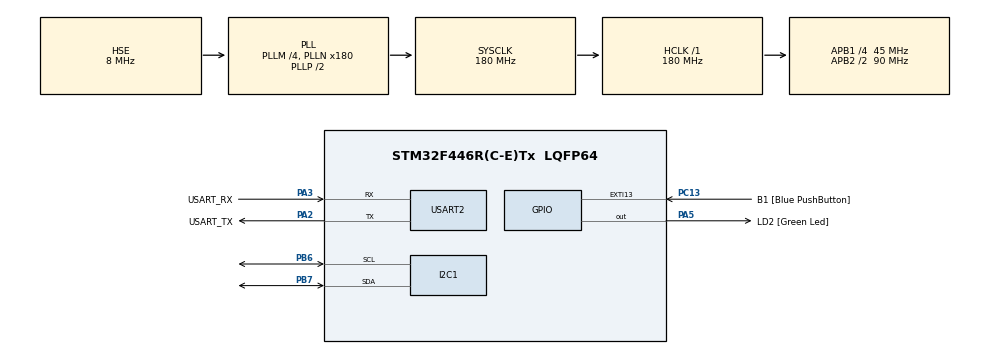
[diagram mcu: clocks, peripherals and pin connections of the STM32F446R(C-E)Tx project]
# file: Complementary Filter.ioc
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I2C1.I2C_Mode=I2C_Fast
Mcu.Family=STM32F4
Mcu.Name=STM32F446R(C-E)Tx
Mcu.Package=LQFP64
NVIC.PriorityGroup=NVIC_PRIORITYGROUP_0
NVIC.USART2_IRQn=true\:0\:0\:false\:false\:true\:true\:true\:true
PA13.GPIO_Label=TMS
PA13.Mode=Serial_Wire
PA13.Signal=SYS_JTMS-SWDIO
PA14.GPIO_Label=TCK
PA14.Mode=Serial_Wire
PA14.Signal=SYS_JTCK-SWCLK
PA2.GPIO_Label=USART_TX
PA2.Mode=Asynchronous
PA2.Signal=USART2_TX
PA3.GPIO_Label=USART_RX
PA3.Mode=Asynchronous
PA3.Signal=USART2_RX
PA5.GPIO_Label=LD2 [Green Led]
PA5.Signal=GPIO_Output
PB3.GPIO_Label=SWO
PB3.Signal=SYS_JTDO-SWO
PB6.Mode=I2C
PB6.Signal=I2C1_SCL
PB7.Mode=I2C
PB7.Signal=I2C1_SDA
PC13.GPIO_Label=B1 [Blue PushButton]
PC13.GPIO_ModeDefaultEXTI=GPIO_MODE_IT_FALLING
PC13.Signal=GPXTI13
PC14-OSC32_IN.Mode=LSE-External-Oscillator
PC14-OSC32_IN.Signal=RCC_OSC32_IN
PC15-OSC32_OUT.Mode=LSE-External-Oscillator
PC15-OSC32_OUT.Signal=RCC_OSC32_OUT
PH0-OSC_IN.Mode=HSE-External-Oscillator
PH0-OSC_IN.Signal=RCC_OSC_IN
PH1-OSC_OUT.Mode=HSE-External-Oscillator
PH1-OSC_OUT.Signal=RCC_OSC_OUT
ProjectManager.HeapSize=0x200
ProjectManager.StackSize=0x400
ProjectManager.TargetToolchain=STM32CubeIDE
RCC.48MHZClocksFreq_Value=84000000
RCC.AHBFreq_Value=180000000
RCC.APB1CLKDivider=RCC_HCLK_DIV4
RCC.APB1Freq_Value=45000000
RCC.APB1TimFreq_Value=90000000
RCC.APB2CLKDivider=RCC_HCLK_DIV2
RCC.APB2Freq_Value=90000000
RCC.APB2TimFreq_Value=180000000
RCC.CortexFreq_Value=180000000
RCC.FLatency-AdvancedSettings=FLASH_LATENCY_5
RCC.HCLKFreq_Value=180000000
RCC.HSE_VALUE=8000000
RCC.HSI_VALUE=16000000
RCC.PLLM=4
RCC.PLLN=180
RCC.PLLSourceVirtual=RCC_PLLSOURCE_HSE
RCC.SYSCLKFreq_VALUE=180000000
RCC.SYSCLKSource=RCC_SYSCLKSOURCE_PLLCLK
RCC.USBFreq_Value=180000000
RCC.VCOOutputFreq_Value=360000000
USART2.VirtualMode=VM_ASYNC
board=NUCLEO-F446RE

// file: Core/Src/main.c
/* USER CODE BEGIN Header */
/**
  ******************************************************************************
  * @file           : main.c
  * @brief          : Main program body
  ******************************************************************************
  * @attention
  *
  * Copyright (c) 2025 STMicroelectronics.
  * All rights reserved.
  *
  * This software is licensed under terms that can be found in the LICENSE file
  * in the root directory of this software component.
  * If no LICENSE file comes with this software, it is provided AS-IS.
  *
  ******************************************************************************
  */
/* USER CODE END Header */
#include "main.h"

/* USER CODE BEGIN Includes */
#include <stdio.h>
#include <string.h>
#include <stdlib.h>
#include <math.h>
#include <stdbool.h>
/* USER CODE END Includes */

/* USER CODE BEGIN PD */
#define MPU6050_ADDR 0x68
#define PWR_MGMT_1_REG 0x6B
#define SMPLRT_DIV_REG 0x19
#define GYRO_CNFG_REG 0x1B
#define ACC_CNFG_REG 0x1C
/* USER CODE END PD */

I2C_HandleTypeDef hi2c1;

UART_HandleTypeDef huart2;

/* USER CODE BEGIN PV */
float offsetGyroX = 0, offsetGyroY = 0, offsetGyroZ = 0;
float qt[4] = {1,0,0,0};
float qw[4] = {0,0,0,0};
float qaWorld[4] = {0,0,0,0};

uint32_t loopTime;
uint32_t lastTimeGyro;

///
int eror = 0;
///
/* USER CODE END PV */

void SystemClock_Config(void);
static void MX_GPIO_Init(void);
static void MX_USART2_UART_Init(void);
static void MX_I2C1_Init(void);
/* USER CODE BEGIN PFP */
void initMPU6050(void);
void readAccelMPU6050(int16_t *rawAccelX, int16_t *rawAccelY, int16_t *rawAccelZ);
void readGyroMPU6050(int16_t *rawGyroX, int16_t *rawGyroY, int16_t *rawGyroZ);
void CalibrationGyro(float *offsetGyroX, float *offsetGyroY, float *offsetGyroZ);
void getCalibratedGyro(int16_t rawGyroX, int16_t rawGyroY, int16_t rawGyroZ, float *calibratedGyroX, float *calibratedGyroY, float *calibratedGyroZ);
void getCalibratedAccel(int16_t rawAccelX, int16_t rawAccelY, int16_t rawAccelZ, float *calibratedAccelX, float *calibratedAccelY, float *calibratedAccelZ);
void updateQuaternionFromGyro(float gx, float gy, float gz);
void updateQuaternionFromAccel(float ax, float ay, float az);
void updateTiltCorrectionWithComplementaryFilter(void);
void sendData(float qw, float qx, float qy, float qz);

/* USER CODE END PFP */

int main(void)
{

  /* MCU Configuration--------------------------------------------------------*/

  /* Reset of all peripherals, Initializes the Flash interface and the Systick. */
   HAL_Init();

  /* Configure the system clock */
  SystemClock_Config();

  /* Initialize all configured peripherals */
  MX_GPIO_Init();
  MX_USART2_UART_Init();
  MX_I2C1_Init();
  /* USER CODE BEGIN 2 */
  	initMPU6050();
  	CalibrationGyro(&offsetGyroX, &offsetGyroY, &offsetGyroZ);
  	loopTime = HAL_GetTick();
  	lastTimeGyro = HAL_GetTick();
  /* USER CODE END 2 */

  /* Infinite loop */
  /* USER CODE BEGIN WHILE */
  while (1)
  {

		int16_t rawAccelX, rawAccelY, rawAccelZ;       // Ham ivmeölçer verileri
		float calibratedAccelX, calibratedAccelY, calibratedAccelZ; // Kalibre edilmiş ivmeölçer verileri

		int16_t rawGyroX, rawGyroY, rawGyroZ;           // Ham jiroskop verileri
		float calibratedGyroX, calibratedGyroY, calibratedGyroZ; // Kalibre edilmiş jiroskop verileri derece/saniye cinsinden
		readAccelMPU6050(&rawAccelX, &rawAccelY, &rawAccelZ);

	    readGyroMPU6050(&rawGyroX, &rawGyroY, &rawGyroZ);

	    getCalibratedAccel(rawAccelX, rawAccelY, rawAccelZ, &calibratedAccelX,
			  				&calibratedAccelY, &calibratedAccelZ);
	    getCalibratedGyro(rawGyroX, rawGyroY, rawGyroZ, &calibratedGyroX,
	    	  				&calibratedGyroY, &calibratedGyroZ);
	    // Gyro ile quaternion'ı güncelle
	    updateQuaternionFromGyro(calibratedGyroX, calibratedGyroY, calibratedGyroZ);

	    // İvmeölçer düzeltmesi (sadece statikse)
	    updateQuaternionFromAccel(calibratedAccelX, calibratedAccelY, calibratedAccelZ);

	    updateTiltCorrectionWithComplementaryFilter();

	    sendData(qt[0], qt[1], qt[2], qt[3]);
	    while(HAL_GetTick()-loopTime<100);
	    loopTime = HAL_GetTick();
	   // HAL_Delay(100);  // 100ms aralıklarla veri gönder
    /* USER CODE END WHILE */

  }
}

void SystemClock_Config(void)
{
  RCC_OscInitTypeDef RCC_OscInitStruct = {0};
  RCC_ClkInitTypeDef RCC_ClkInitStruct = {0};

  /** Configure the main internal regulator output voltage
  */
  __HAL_RCC_PWR_CLK_ENABLE();
  __HAL_PWR_VOLTAGESCALING_CONFIG(PWR_REGULATOR_VOLTAGE_SCALE1);

  /** Initializes the RCC Oscillators according to the specified parameters
  * in the RCC_OscInitTypeDef structure.
  */
  RCC_OscInitStruct.OscillatorType = RCC_OSCILLATORTYPE_HSE;
  RCC_OscInitStruct.HSEState = RCC_HSE_ON;
  RCC_OscInitStruct.PLL.PLLState = RCC_PLL_ON;
  RCC_OscInitStruct.PLL.PLLSource = RCC_PLLSOURCE_HSE;
  RCC_OscInitStruct.PLL.PLLM = 4;
  RCC_OscInitStruct.PLL.PLLN = 180;
  RCC_OscInitStruct.PLL.PLLP = RCC_PLLP_DIV2;
  RCC_OscInitStruct.PLL.PLLQ = 2;
  RCC_OscInitStruct.PLL.PLLR = 2;
  if (HAL_RCC_OscConfig(&RCC_OscInitStruct) != HAL_OK)
  {
    Error_Handler();
  }

  /** Activate the Over-Drive mode
  */
  if (HAL_PWREx_EnableOverDrive() != HAL_OK)
  {
    Error_Handler();
  }

  /** Initializes the CPU, AHB and APB buses clocks
  */
  RCC_ClkInitStruct.ClockType = RCC_CLOCKTYPE_HCLK|RCC_CLOCKTYPE_SYSCLK
                              |RCC_CLOCKTYPE_PCLK1|RCC_CLOCKTYPE_PCLK2;
  RCC_ClkInitStruct.SYSCLKSource = RCC_SYSCLKSOURCE_PLLCLK;
  RCC_ClkInitStruct.AHBCLKDivider = RCC_SYSCLK_DIV1;
  RCC_ClkInitStruct.APB1CLKDivider = RCC_HCLK_DIV4;
  RCC_ClkInitStruct.APB2CLKDivider = RCC_HCLK_DIV2;

  if (HAL_RCC_ClockConfig(&RCC_ClkInitStruct, FLASH_LATENCY_5) != HAL_OK)
  {
    Error_Handler();
  }
}

static void MX_I2C1_Init(void)
{

  hi2c1.Instance = I2C1;
  hi2c1.Init.ClockSpeed = 400000;
  hi2c1.Init.DutyCycle = I2C_DUTYCYCLE_2;
  hi2c1.Init.OwnAddress1 = 0;
  hi2c1.Init.AddressingMode = I2C_ADDRESSINGMODE_7BIT;
  hi2c1.Init.DualAddressMode = I2C_DUALADDRESS_DISABLE;
  hi2c1.Init.OwnAddress2 = 0;
  hi2c1.Init.GeneralCallMode = I2C_GENERALCALL_DISABLE;
  hi2c1.Init.NoStretchMode = I2C_NOSTRETCH_DISABLE;
  if (HAL_I2C_Init(&hi2c1) != HAL_OK)
  {
    Error_Handler();
  }

}

static void MX_USART2_UART_Init(void)
{

  huart2.Instance = USART2;
  huart2.Init.BaudRate = 115200;
  huart2.Init.WordLength = UART_WORDLENGTH_8B;
  huart2.Init.StopBits = UART_STOPBITS_1;
  huart2.Init.Parity = UART_PARITY_NONE;
  huart2.Init.Mode = UART_MODE_TX_RX;
  huart2.Init.HwFlowCtl = UART_HWCONTROL_NONE;
  huart2.Init.OverSampling = UART_OVERSAMPLING_16;
  if (HAL_UART_Init(&huart2) != HAL_OK)
  {
    Error_Handler();
  }

}

static void MX_GPIO_Init(void)
{
  GPIO_InitTypeDef GPIO_InitStruct = {0};

  /* GPIO Ports Clock Enable */
  __HAL_RCC_GPIOC_CLK_ENABLE();
  __HAL_RCC_GPIOH_CLK_ENABLE();
  __HAL_RCC_GPIOA_CLK_ENABLE();
  __HAL_RCC_GPIOB_CLK_ENABLE();

  /*Configure GPIO pin Output Level */
  HAL_GPIO_WritePin(LD2_GPIO_Port, LD2_Pin, GPIO_PIN_RESET);

  /*Configure GPIO pin : B1_Pin */
  GPIO_InitStruct.Pin = B1_Pin;
  GPIO_InitStruct.Mode = GPIO_MODE_IT_FALLING;
  GPIO_InitStruct.Pull = GPIO_NOPULL;
  HAL_GPIO_Init(B1_GPIO_Port, &GPIO_InitStruct);

  /*Configure GPIO pin : LD2_Pin */
  GPIO_InitStruct.Pin = LD2_Pin;
  GPIO_InitStruct.Mode = GPIO_MODE_OUTPUT_PP;
  GPIO_InitStruct.Pull = GPIO_NOPULL;
  GPIO_InitStruct.Speed = GPIO_SPEED_FREQ_LOW;
  HAL_GPIO_Init(LD2_GPIO_Port, &GPIO_InitStruct);

}

/* USER CODE BEGIN 4 */
void initMPU6050(void) {
	//int eror = 0;
	uint8_t buffer;
	//MPU6050 Uyku modundan çık ve başlat
	buffer = 0x00;
	if (HAL_I2C_Mem_Write(&hi2c1, MPU6050_ADDR << 1, PWR_MGMT_1_REG, 1, &buffer,
			1,
			HAL_MAX_DELAY) != HAL_OK) {
		eror = 1;
		Error_Handler();
	}

	// SMPLRT_DIV_REG --> yazarak veri hızını 1KHz olarak ayarla 8KHZ Jiroskop çalışma frekansı için
	//ivme ölçer çıkış frekansı 1khz olarak ayarlanıyor
	//yani Sample Rate = Gyroscope Output Rate / (1 + SMPLRT_DIV) ->>>1KHz=8KHz /(1+ SMPLRT_DIV=7)
	buffer = 0x07;
	if (HAL_I2C_Mem_Write(&hi2c1, MPU6050_ADDR << 1, SMPLRT_DIV_REG, 1, &buffer,
			1,
			HAL_MAX_DELAY) != HAL_OK) {
		eror = 2;
		Error_Handler();
	}
	// GYRO CNFG --> +-500 derece/saniye -->08 veya --> +-1000 derece/saniye -->10
	buffer = 0x10;
	if (HAL_I2C_Mem_Write(&hi2c1, MPU6050_ADDR << 1, GYRO_CNFG_REG, 1, &buffer,
			1,
			HAL_MAX_DELAY) != HAL_OK) {
		eror = 2;
		Error_Handler();
	}

	// ACC CNFG --> +-8g -->10
	buffer = 0x10;
	if (HAL_I2C_Mem_Write(&hi2c1, MPU6050_ADDR << 1, ACC_CNFG_REG, 1, &buffer,
			1,
			HAL_MAX_DELAY) != HAL_OK) {
		eror = 3;
		Error_Handler();
	}

}

void readAccelMPU6050(int16_t *rawAccelX, int16_t *rawAccelY, int16_t *rawAccelZ) {

	uint8_t bufferAccel[6];
	// belirttiğim adresten itibaren veri bana gönder emri
	bufferAccel[0] = 0x3B;
	HAL_I2C_Master_Transmit(&hi2c1, MPU6050_ADDR << 1, bufferAccel, 1,
	HAL_MAX_DELAY);
	// 6 tane byte al
	HAL_I2C_Master_Receive(&hi2c1, MPU6050_ADDR << 1, bufferAccel, 6,
	HAL_MAX_DELAY);

	*rawAccelX = (bufferAccel[0] << 8 | bufferAccel[1]);
	*rawAccelY = (bufferAccel[2] << 8 | bufferAccel[3]);
	*rawAccelZ = (bufferAccel[4] << 8 | bufferAccel[5]);

}
void readGyroMPU6050(int16_t *rawGyroX, int16_t *rawGyroY, int16_t *rawGyroZ) {
	// belirttiğim adresten itibaren veri bana gönder emri
	uint8_t bufferGyro[6];
	bufferGyro[0] = 0x43;
	HAL_I2C_Master_Transmit(&hi2c1, MPU6050_ADDR << 1, bufferGyro, 1,
	HAL_MAX_DELAY);
	// 6 tane byte al
	HAL_I2C_Master_Receive(&hi2c1, MPU6050_ADDR << 1, bufferGyro, 6,
	HAL_MAX_DELAY);

	*rawGyroX = (bufferGyro[0] << 8 | bufferGyro[1]);
	*rawGyroY = (bufferGyro[2] << 8 | bufferGyro[3]);
	*rawGyroZ = (bufferGyro[4] << 8 | bufferGyro[5]);
}

void CalibrationGyro(float *offsetGyroX, float *offsetGyroY, float *offsetGyroZ) {

	int16_t rawGyroX, rawGyroY, rawGyroZ;
	for (int i = 0; i < 4000; i++) {

		readGyroMPU6050(&rawGyroX, &rawGyroY, &rawGyroZ);
		*offsetGyroX += rawGyroX;
		*offsetGyroY += rawGyroY;
		*offsetGyroZ += rawGyroZ;

		HAL_Delay(1);
	}
	*offsetGyroX /= 4000.0;
	*offsetGyroY /= 4000.0;
	*offsetGyroZ /= 4000.0;
}

void getCalibratedGyro(int16_t rawGyroX, int16_t rawGyroY, int16_t rawGyroZ, float *calibratedGyroX, float *calibratedGyroY, float *calibratedGyroZ) {

	*calibratedGyroX = (rawGyroX - offsetGyroX) / 32.8f; // /32.8 derece/saniye cinsinden dönüşümü için gerekli adım
	*calibratedGyroY = (rawGyroY - offsetGyroY) / 32.8f;
	*calibratedGyroZ = (rawGyroZ - offsetGyroZ) / 32.8f;

	*calibratedGyroX = *calibratedGyroX * 3.14159265359/180.0; // radyan/saniye cinsinden
	*calibratedGyroY = *calibratedGyroY * 3.14159265359/180.0;
	*calibratedGyroZ = *calibratedGyroZ * 3.14159265359/180.0;
}

// Kalibre edilmiş ivmeölçer değerlerini hesapla
void getCalibratedAccel(int16_t rawAccelX, int16_t rawAccelY, int16_t rawAccelZ, float *calibratedAccelX, float *calibratedAccelY, float *calibratedAccelZ) {

	const float offsetAccelX = 132.00;
	  const float offsetAccelY = 432.00;
	  const float offsetAccelZ = -54.00;
	  const float scaleCorrectionFactorAccelX = 1.04364324;
	  const float scaleCorrectionFactorAccelY = 0.936369419;
	  const float scaleCorrectionFactorAccelZ = 1.02683783;

	// Kalibre edilmiş değerleri hesapla
	*calibratedAccelX = (rawAccelX - offsetAccelX)
			* scaleCorrectionFactorAccelX/4096.0;
	*calibratedAccelY = (rawAccelY - offsetAccelY)
			* scaleCorrectionFactorAccelY/4096.0;
	*calibratedAccelZ = (rawAccelZ - offsetAccelZ)
			* scaleCorrectionFactorAccelZ/4096.0;

}
// verileri seri port üzerinden gönder
void sendData(float qw, float qx, float qy, float qz) {
    char buffer[100];
    snprintf(buffer, sizeof(buffer), "%.6f, %.6f, %.6f, %.6f\n", qw, qx, qy, qz);
    HAL_UART_Transmit(&huart2, (uint8_t*)buffer, strlen(buffer), HAL_MAX_DELAY);
}

void updateQuaternionFromGyro(float gx, float gy, float gz) {

    // geçen zaman aralığı hesapla
	double deltaTime =(double)(HAL_GetTick()-lastTimeGyro)/1000.0f;
	lastTimeGyro = HAL_GetTick();

    float norm = sqrt(gx * gx + gy * gy + gz * gz);
    if (norm > 0) {
        float angle = norm * deltaTime;
        float sinHalfAngle = sin(angle / 2.0);
        float cosHalfAngle = cos(angle / 2.0);
        float qDelta[4] = {cosHalfAngle, sinHalfAngle * (gx / norm), sinHalfAngle * (gy / norm), sinHalfAngle * (gz / norm)};

        // Kuaterniyon güncelleme: q_t+1 = q_t * q_delta --- buraada sadece GYRO'dan Kuaterniyon hesabı
        qw[0] = qt[0] * qDelta[0] - qt[1] * qDelta[1] - qt[2] * qDelta[2] - qt[3] * qDelta[3];
        qw[1] = qt[0] * qDelta[1] + qt[1] * qDelta[0] + qt[2] * qDelta[3] - qt[3] * qDelta[2];
        qw[2] = qt[0] * qDelta[2] - qt[1] * qDelta[3] + qt[2] * qDelta[0] + qt[3] * qDelta[1];
        qw[3] = qt[0] * qDelta[3] + qt[1] * qDelta[2] - qt[2] * qDelta[1] + qt[3] * qDelta[0];
        float normq = sqrt(qw[0] * qw[0] + qw[1] * qw[1] + qw[2] * qw[2] + qw[3] * qw[3]);
        qw[0] = qw[0]/normq;
        qw[1] = qw[1]/normq;
        qw[2] = qw[2]/normq;
        qw[3] = qw[3]/normq;
        //memcpy(qt, qw, sizeof(qw)); //eğer sadece gyro'dan veriyi göncelleme yapmak istiyorsak bunu kullanırız ama drift hatası oluşacak
    }
}

void updateQuaternionFromAccel(float ax, float ay, float az) {
	float qa[4] = {0, ax ,ay, az};

	float norm = sqrt(qw[0] * qw[0] + qw[1] * qw[1] + qw[2] * qw[2] + qw[3] * qw[3]);
	float conjugateqw[4] = {qw[0], -qw[1] ,-qw[2], -qw[3]};
	float inverseqw[4] = {conjugateqw[0]/(norm*norm), conjugateqw[1]/(norm*norm), conjugateqw[2]/(norm*norm), conjugateqw[3]/(norm*norm)};
	float qTemp[4];

	//qa_world = qw * qa_body * inverseqw iki adımla Kuaterniyon çarpımı yapacağız

	//qTemp = qw * qa_body
	qTemp[0] = qw[0] * qa[0] - qw[1] * qa[1] - qw[2] * qa[2] - qw[3] * qa[3];
	qTemp[1] = qw[0] * qa[1] + qw[1] * qa[0] + qw[2] * qa[3] - qw[3] * qa[2];
	qTemp[2] = qw[0] * qa[2] - qw[1] * qa[3] + qw[2] * qa[0] + qw[3] * qa[1];
	qTemp[3] = qw[0] * qa[3] + qw[1] * qa[2] - qw[2] * qa[1] + qw[3] * qa[0];

	//qa_world = qTemp * inverseqw
	qaWorld[0] = qTemp[0] * inverseqw[0] - qTemp[1] * inverseqw[1] - qTemp[2] * inverseqw[2] - qTemp[3] * inverseqw[3];
	qaWorld[1] = qTemp[0] * inverseqw[1] + qTemp[1] * inverseqw[0] + qTemp[2] * inverseqw[3] - qTemp[3] * inverseqw[2];
	qaWorld[2] = qTemp[0] * inverseqw[2] - qTemp[1] * inverseqw[3] + qTemp[2] * inverseqw[0] + qTemp[3] * inverseqw[1];
	qaWorld[3] = qTemp[0] * inverseqw[3] + qTemp[1] * inverseqw[2] - qTemp[2] * inverseqw[1] + qTemp[3] * inverseqw[0];

    float normq = sqrt(qaWorld[0] * qaWorld[0] + qaWorld[1] * qaWorld[1] + qaWorld[2] * qaWorld[2] + qaWorld[3] * qaWorld[3]);
    qaWorld[0] /= normq;
    qaWorld[1] /= normq;
    qaWorld[2] /= normq;
    qaWorld[3] /= normq;

}
void updateTiltCorrectionWithComplementaryFilter() {

	    // Dönüş ekseni ve dönüş açısını hesapla
	    float psi = acos(qaWorld[3]);
	    float nx = qaWorld[2], ny = -qaWorld[1], nz = 0;
	    float norm = sqrt(nx * nx + ny * ny + nz * nz);

        const float alpha = 0.95;
	    float sinHalfPsi = sin((1 - alpha) * psi / 2.0);
	    float cosHalfPsi = cos((1 - alpha) * psi / 2.0);

	    float qTilt[4] = {cosHalfPsi, sinHalfPsi * nx/norm, sinHalfPsi * ny/norm, sinHalfPsi * nz/norm};

	    // Kuaterniyon güncelleme: qc = qTilt * qGyro
	    float qc[4];
	    qc[0] = qTilt[0] * qw[0] - qTilt[1] * qw[1] - qTilt[2] * qw[2] - qTilt[3] * qw[3];
	    qc[1] = qTilt[0] * qw[1] + qTilt[1] * qw[0] + qTilt[2] * qw[3] - qTilt[3] * qw[2];
	    qc[2] = qTilt[0] * qw[2] - qTilt[1] * qw[3] + qTilt[2] * qw[0] + qTilt[3] * qw[1];
	    qc[3] = qTilt[0] * qw[3] + qTilt[1] * qw[2] - qTilt[2] * qw[1] + qTilt[3] * qw[0];

	    float normq = sqrt(qc[0] * qc[0] + qc[1] * qc[1] + qc[2] * qc[2] + qc[3] * qc[3]);
	    qc[0] /= normq;
	    qc[1] /= normq;
	    qc[2] /= normq;
	    qc[3] /= normq;

	   memcpy(qt, qc, sizeof(qc));

}

/* USER CODE END 4 */

void Error_Handler(void)
{
  __disable_irq();
  while (1)
  {
  }
}
